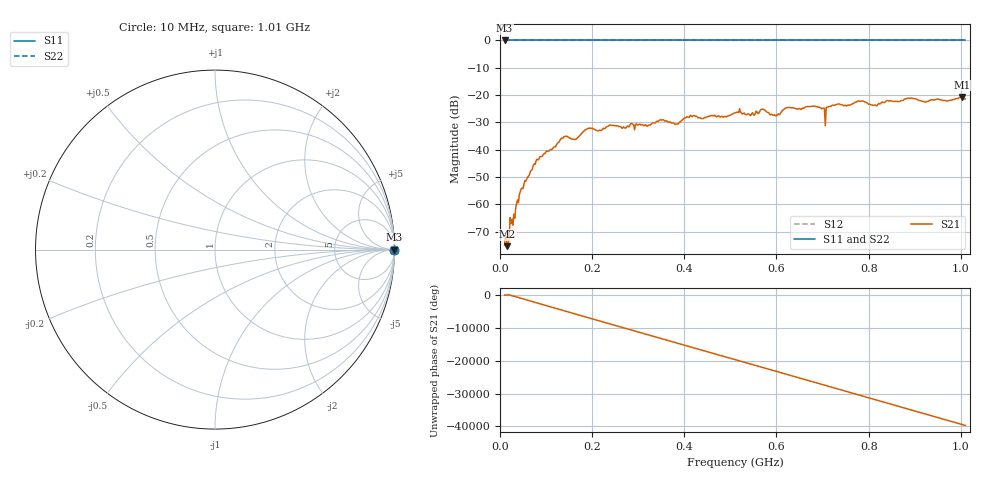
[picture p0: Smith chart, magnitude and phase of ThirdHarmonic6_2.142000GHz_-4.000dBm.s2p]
! 8/17/2025 1:34:59 AM
! C:\ANRITSUVNA\TEMP\TEMP.S2P
! CHANNEL.1
! TR.MEASUREMENT
! RAW.DATA
! RF.CORRECTION.OFF
! AVERAGING.OFF
! IF.BANDWIDTH: 5KHZ
! SWEEPTYPE:  FREQ.SWEEP(Linear)
! Reference Plane Port Info
! PORT:  PORT1  PORT2
! DISTANCE:  0  m  0  m
! TIME:  0  s  0  s
! PHASE.OFFSET:  0  deg.  0  deg.
! LOSS:  0  dB  0  dB
! REF.LOSS:  0  dB  0  dB
! REF.FREQ:  0  Hz  0  Hz
! Power Info
! POWER:  -20  dBm  -20  dBm
! EFF.POWER:  -20  dBm  -20  dBm
! SOURCE.ATTEN:  0  dB  0  dB
! TEST.ATTEN:  0  dB  0  dB
# GHZ S RI R 50.0
! FREQ.GHZ  S11RE  S11IM  S21RE  S21IM  S12RE  S12IM  S22RE  S22IM
!; PortSelection: Port_12
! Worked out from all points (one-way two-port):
!   501 points, 10 MHz to 1.01 GHz, reference 50 ohm
!   highest |S21| = -20.69 dB at 1.002 GHz (marker M1); lowest = -75.2 dB at 16 MHz (marker M2)
!   lowest |S11| = 0.0 dB at 10 MHz (marker M3)
!   |S11| at or under -10 dB: nowhere
!   |S22| runs from 0.0 to 0.0 dB; largest |S21 - S12| = 1.1
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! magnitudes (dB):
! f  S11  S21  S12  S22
! 10 MHz  0.0  -75.0  0.0  0.0
! 16 MHz  0.0  -75.2  0.0  0.0
! 46 MHz  0.0  -54.3  0.0  0.0
! 76 MHz  0.0  -45.4  0.0  0.0
! 136 MHz  0.0  -35.8  0.0  0.0
! 162 MHz  0.0  -36.3  0.0  0.0
! 178 MHz  0.0  -33.9  0.0  0.0
! 344 MHz  0.0  -29.6  0.0  0.0
! 384 MHz  0.0  -30.6  0.0  0.0
! 416 MHz  0.0  -27.8  0.0  0.0
! 510 MHz  0.0  -26.4  0.0  0.0
! 548 MHz  0.0  -26.4  0.0  0.0
! 570 MHz  0.0  -25.2  0.0  0.0
! 598 MHz  0.0  -27.5  0.0  0.0
! 624 MHz  0.0  -24.5  0.0  0.0
! 678 MHz  0.0  -24.1  0.0  0.0
! 702 MHz  0.0  -24.8  0.0  0.0
! 732 MHz  0.0  -23.3  0.0  0.0
! 814 MHz  0.0  -23.6  0.0  0.0
! 844 MHz  0.0  -22.2  0.0  0.0
! 1.002 GHz  0.0  -20.7  0.0  0.0
! 1.01 GHz  0.0  -21.4  0.0  0.0
